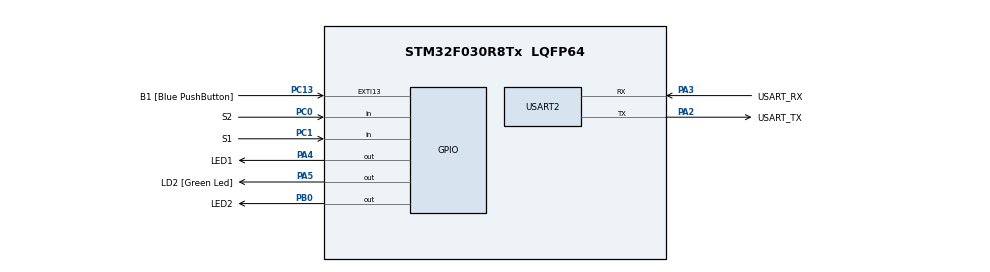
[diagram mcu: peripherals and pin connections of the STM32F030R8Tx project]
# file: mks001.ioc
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Mcu.Family=STM32F0
Mcu.Name=STM32F030R8Tx
Mcu.Package=LQFP64
PA13.GPIO_Label=TMS
PA13.Mode=Serial_Wire
PA13.Signal=SYS_SWDIO
PA14.GPIO_Label=TCK
PA14.Mode=Serial_Wire
PA14.Signal=SYS_SWCLK
PA2.GPIO_Label=USART_TX
PA2.GPIO_Mode=GPIO_MODE_AF_PP
PA2.GPIO_PuPd=GPIO_NOPULL
PA2.GPIO_Speed=GPIO_SPEED_FREQ_LOW
PA2.Mode=Asynchronous
PA2.Signal=USART2_TX
PA3.GPIO_Label=USART_RX
PA3.GPIO_Mode=GPIO_MODE_AF_PP
PA3.GPIO_PuPd=GPIO_NOPULL
PA3.GPIO_Speed=GPIO_SPEED_FREQ_LOW
PA3.Mode=Asynchronous
PA3.Signal=USART2_RX
PA4.GPIO_Label=LED1
PA4.Signal=GPIO_Output
PA5.GPIO_Label=LD2 [Green Led]
PA5.GPIO_Mode=GPIO_MODE_OUTPUT_PP
PA5.GPIO_PuPd=GPIO_NOPULL
PA5.GPIO_Speed=GPIO_SPEED_FREQ_LOW
PA5.Signal=GPIO_Output
PB0.GPIO_Label=LED2
PB0.GPIO_PuPd=GPIO_PULLUP
PB0.Signal=GPIO_Output
PC0.GPIO_Label=S2
PC0.GPIO_PuPd=GPIO_PULLUP
PC0.Signal=GPIO_Input
PC1.GPIO_Label=S1
PC1.GPIO_PuPd=GPIO_PULLUP
PC1.Signal=GPIO_Input
PC13.GPIO_Label=B1 [Blue PushButton]
PC13.GPIO_ModeDefaultEXTI=GPIO_MODE_IT_FALLING
PC13.Signal=GPXTI13
PC14-OSC32_IN.Mode=LSE-External-Oscillator
PC14-OSC32_IN.Signal=RCC_OSC32_IN
PC15-OSC32_OUT.Mode=LSE-External-Oscillator
PC15-OSC32_OUT.Signal=RCC_OSC32_OUT
PF0-OSC_IN.Mode=HSE-External-Clock-Source
PF0-OSC_IN.Signal=RCC_OSC_IN
PF1-OSC_OUT.Signal=RCC_OSC_OUT
ProjectManager.HeapSize=0x200
ProjectManager.StackSize=0x400
ProjectManager.TargetToolchain=STM32CubeIDE
RCC.AHBFreq_Value=48000000
RCC.APB1Freq_Value=48000000
RCC.APB1TimFreq_Value=48000000
RCC.HCLKFreq_Value=48000000
RCC.PLLMUL=RCC_PLL_MUL12
RCC.SYSCLKFreq_VALUE=48000000
RCC.SYSCLKSource=RCC_SYSCLKSOURCE_PLLCLK
USART2.VirtualMode-Asynchronous=VM_ASYNC
board=NUCLEO-F030R8

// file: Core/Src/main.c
/* USER CODE BEGIN Header */
/**
  ******************************************************************************
  * @file           : main.c
  * @brief          : Main program body
  ******************************************************************************
  * @attention
  *
  * Copyright (c) 2025 STMicroelectronics.
  * All rights reserved.
  *
  * This software is licensed under terms that can be found in the LICENSE file
  * in the root directory of this software component.
  * If no LICENSE file comes with this software, it is provided AS-IS.
  *
  ******************************************************************************
  */
/* USER CODE END Header */
#include "main.h"

/* USER CODE BEGIN PD */
#define LED_TIME_BLINK 300
#define LED_TIME_SHORT 100
#define LED_TIME_LONG 1000
#define BUTTON_DELAY1 40
#define BUTTON_DELAY2 5
/* USER CODE END PD */

/* USER CODE BEGIN PV */
volatile uint32_t Tick;
/* USER CODE END PV */

void SystemClock_Config(void);
static void MX_GPIO_Init(void);
static void MX_USART2_UART_Init(void);

/* USER CODE BEGIN 0 */
void blink(void)
{
	static uint32_t delay;

	if (Tick > delay + LED_TIME_BLINK) {
		LL_GPIO_TogglePin(LED1_GPIO_Port, LED1_Pin);
		delay = Tick;
	}
}

void button(void)
{
	static uint32_t off_time;
	static uint32_t last_sample2 = 0;
	static uint32_t last_sample1 = 0;

	if (Tick - last_sample2 >= BUTTON_DELAY1) {
		static uint32_t old_s2;
		uint32_t new_s2 = LL_GPIO_IsInputPinSet(S2_GPIO_Port, S2_Pin);

		last_sample2 = Tick;
		if (old_s2 && !new_s2) {
			off_time = Tick + LED_TIME_SHORT;
			LL_GPIO_SetOutputPin(LED2_GPIO_Port, LED2_Pin);
		}
		old_s2 = new_s2;

		if (Tick > off_time) {
			LL_GPIO_ResetOutputPin(LED2_GPIO_Port, LED2_Pin);
		}

	}

	if (Tick - last_sample1 >= BUTTON_DELAY2) {
		static uint16_t debounce = 0xFFFF;

		last_sample1 = Tick;
		debounce <<= 1;

		if (LL_GPIO_IsInputPinSet(S1_GPIO_Port, S1_Pin)) {
			debounce |= 0x0001;
		}

		if (debounce == 0x8000) {
			off_time = Tick + LED_TIME_LONG;
			LL_GPIO_SetOutputPin(LED2_GPIO_Port, LED2_Pin);
		}

		if (Tick > off_time) {
			LL_GPIO_ResetOutputPin(LED2_GPIO_Port, LED2_Pin);
		}
	}
}
/* USER CODE END 0 */

int main(void)
{

  /* MCU Configuration--------------------------------------------------------*/

  /* Reset of all peripherals, Initializes the Flash interface and the Systick. */
  LL_APB1_GRP2_EnableClock(LL_APB1_GRP2_PERIPH_SYSCFG);
  LL_APB1_GRP1_EnableClock(LL_APB1_GRP1_PERIPH_PWR);

  /* Configure the system clock */
  SystemClock_Config();

  /* Initialize all configured peripherals */
  MX_GPIO_Init();
  MX_USART2_UART_Init();
  /* USER CODE BEGIN 2 */
  LL_SYSTICK_EnableIT();
  /* USER CODE END 2 */

  /* Infinite loop */
  while (1)
  {

    /* USER CODE BEGIN 3 */
	  blink();
	  button();

  }
  /* USER CODE END 3 */
}

void SystemClock_Config(void)
{
  LL_FLASH_SetLatency(LL_FLASH_LATENCY_1);
  while(LL_FLASH_GetLatency() != LL_FLASH_LATENCY_1)
  {
  }
  LL_RCC_HSI_Enable();

   /* Wait till HSI is ready */
  while(LL_RCC_HSI_IsReady() != 1)
  {

  }
  LL_RCC_HSI_SetCalibTrimming(16);
  LL_RCC_PLL_ConfigDomain_SYS(LL_RCC_PLLSOURCE_HSI_DIV_2, LL_RCC_PLL_MUL_12);
  LL_RCC_PLL_Enable();

   /* Wait till PLL is ready */
  while(LL_RCC_PLL_IsReady() != 1)
  {

  }
  LL_RCC_SetAHBPrescaler(LL_RCC_SYSCLK_DIV_1);
  LL_RCC_SetAPB1Prescaler(LL_RCC_APB1_DIV_1);
  LL_RCC_SetSysClkSource(LL_RCC_SYS_CLKSOURCE_PLL);

   /* Wait till System clock is ready */
  while(LL_RCC_GetSysClkSource() != LL_RCC_SYS_CLKSOURCE_STATUS_PLL)
  {

  }
  LL_Init1msTick(48000000);
  LL_SetSystemCoreClock(48000000);
}

static void MX_USART2_UART_Init(void)
{

  LL_USART_InitTypeDef USART_InitStruct = {0};

  LL_GPIO_InitTypeDef GPIO_InitStruct = {0};

  /* Peripheral clock enable */
  LL_APB1_GRP1_EnableClock(LL_APB1_GRP1_PERIPH_USART2);

  LL_AHB1_GRP1_EnableClock(LL_AHB1_GRP1_PERIPH_GPIOA);
  /**USART2 GPIO Configuration
  PA2   ------> USART2_TX
  PA3   ------> USART2_RX
  */
  GPIO_InitStruct.Pin = USART_TX_Pin;
  GPIO_InitStruct.Mode = LL_GPIO_MODE_ALTERNATE;
  GPIO_InitStruct.Speed = LL_GPIO_SPEED_FREQ_LOW;
  GPIO_InitStruct.OutputType = LL_GPIO_OUTPUT_PUSHPULL;
  GPIO_InitStruct.Pull = LL_GPIO_PULL_NO;
  GPIO_InitStruct.Alternate = LL_GPIO_AF_1;
  LL_GPIO_Init(USART_TX_GPIO_Port, &GPIO_InitStruct);

  GPIO_InitStruct.Pin = USART_RX_Pin;
  GPIO_InitStruct.Mode = LL_GPIO_MODE_ALTERNATE;
  GPIO_InitStruct.Speed = LL_GPIO_SPEED_FREQ_LOW;
  GPIO_InitStruct.OutputType = LL_GPIO_OUTPUT_PUSHPULL;
  GPIO_InitStruct.Pull = LL_GPIO_PULL_NO;
  GPIO_InitStruct.Alternate = LL_GPIO_AF_1;
  LL_GPIO_Init(USART_RX_GPIO_Port, &GPIO_InitStruct);

  USART_InitStruct.BaudRate = 38400;
  USART_InitStruct.DataWidth = LL_USART_DATAWIDTH_8B;
  USART_InitStruct.StopBits = LL_USART_STOPBITS_1;
  USART_InitStruct.Parity = LL_USART_PARITY_NONE;
  USART_InitStruct.TransferDirection = LL_USART_DIRECTION_TX_RX;
  USART_InitStruct.HardwareFlowControl = LL_USART_HWCONTROL_NONE;
  USART_InitStruct.OverSampling = LL_USART_OVERSAMPLING_16;
  LL_USART_Init(USART2, &USART_InitStruct);
  LL_USART_DisableIT_CTS(USART2);
  LL_USART_ConfigAsyncMode(USART2);
  LL_USART_Enable(USART2);

}

static void MX_GPIO_Init(void)
{
  LL_EXTI_InitTypeDef EXTI_InitStruct = {0};
  LL_GPIO_InitTypeDef GPIO_InitStruct = {0};

  /* GPIO Ports Clock Enable */
  LL_AHB1_GRP1_EnableClock(LL_AHB1_GRP1_PERIPH_GPIOC);
  LL_AHB1_GRP1_EnableClock(LL_AHB1_GRP1_PERIPH_GPIOF);
  LL_AHB1_GRP1_EnableClock(LL_AHB1_GRP1_PERIPH_GPIOA);
  LL_AHB1_GRP1_EnableClock(LL_AHB1_GRP1_PERIPH_GPIOB);

  /**/
  LL_GPIO_ResetOutputPin(LED1_GPIO_Port, LED1_Pin);

  /**/
  LL_GPIO_ResetOutputPin(LD2_GPIO_Port, LD2_Pin);

  /**/
  LL_GPIO_ResetOutputPin(LED2_GPIO_Port, LED2_Pin);

  /**/
  LL_SYSCFG_SetEXTISource(LL_SYSCFG_EXTI_PORTC, LL_SYSCFG_EXTI_LINE13);

  /**/
  LL_GPIO_SetPinPull(B1_GPIO_Port, B1_Pin, LL_GPIO_PULL_NO);

  /**/
  LL_GPIO_SetPinMode(B1_GPIO_Port, B1_Pin, LL_GPIO_MODE_INPUT);

  /**/
  EXTI_InitStruct.Line_0_31 = LL_EXTI_LINE_13;
  EXTI_InitStruct.LineCommand = ENABLE;
  EXTI_InitStruct.Mode = LL_EXTI_MODE_IT;
  EXTI_InitStruct.Trigger = LL_EXTI_TRIGGER_FALLING;
  LL_EXTI_Init(&EXTI_InitStruct);

  /**/
  GPIO_InitStruct.Pin = S2_Pin;
  GPIO_InitStruct.Mode = LL_GPIO_MODE_INPUT;
  GPIO_InitStruct.Pull = LL_GPIO_PULL_UP;
  LL_GPIO_Init(S2_GPIO_Port, &GPIO_InitStruct);

  /**/
  GPIO_InitStruct.Pin = S1_Pin;
  GPIO_InitStruct.Mode = LL_GPIO_MODE_INPUT;
  GPIO_InitStruct.Pull = LL_GPIO_PULL_UP;
  LL_GPIO_Init(S1_GPIO_Port, &GPIO_InitStruct);

  /**/
  GPIO_InitStruct.Pin = LED1_Pin;
  GPIO_InitStruct.Mode = LL_GPIO_MODE_OUTPUT;
  GPIO_InitStruct.Speed = LL_GPIO_SPEED_FREQ_LOW;
  GPIO_InitStruct.OutputType = LL_GPIO_OUTPUT_PUSHPULL;
  GPIO_InitStruct.Pull = LL_GPIO_PULL_NO;
  LL_GPIO_Init(LED1_GPIO_Port, &GPIO_InitStruct);

  /**/
  GPIO_InitStruct.Pin = LD2_Pin;
  GPIO_InitStruct.Mode = LL_GPIO_MODE_OUTPUT;
  GPIO_InitStruct.Speed = LL_GPIO_SPEED_FREQ_LOW;
  GPIO_InitStruct.OutputType = LL_GPIO_OUTPUT_PUSHPULL;
  GPIO_InitStruct.Pull = LL_GPIO_PULL_NO;
  LL_GPIO_Init(LD2_GPIO_Port, &GPIO_InitStruct);

  /**/
  GPIO_InitStruct.Pin = LED2_Pin;
  GPIO_InitStruct.Mode = LL_GPIO_MODE_OUTPUT;
  GPIO_InitStruct.Speed = LL_GPIO_SPEED_FREQ_LOW;
  GPIO_InitStruct.OutputType = LL_GPIO_OUTPUT_PUSHPULL;
  GPIO_InitStruct.Pull = LL_GPIO_PULL_UP;
  LL_GPIO_Init(LED2_GPIO_Port, &GPIO_InitStruct);

}

void Error_Handler(void)
{
  __disable_irq();
  while (1)
  {
  }
}
